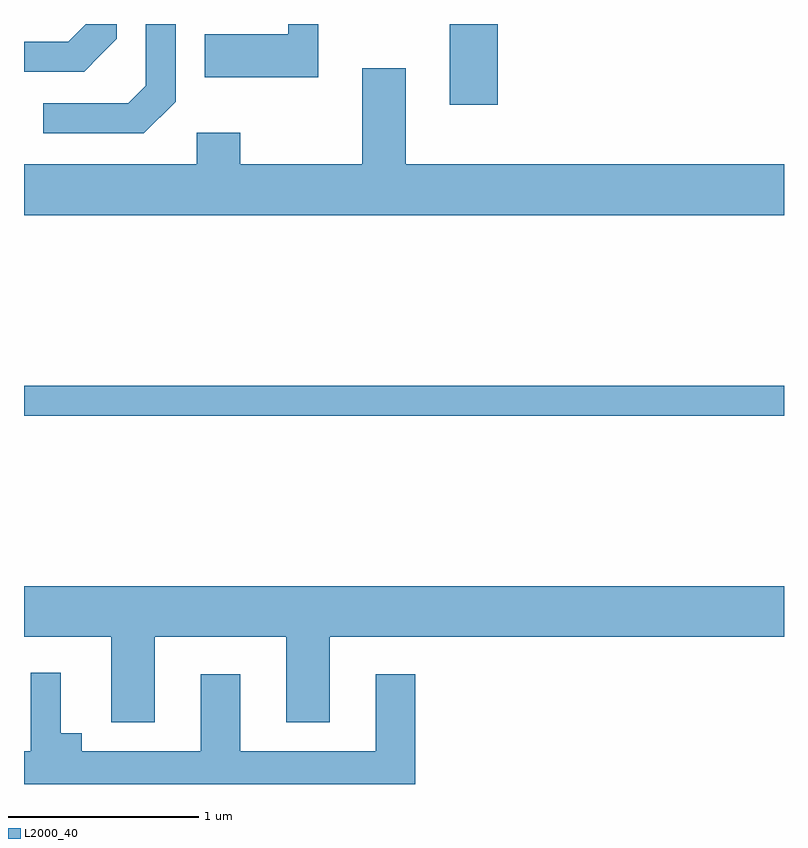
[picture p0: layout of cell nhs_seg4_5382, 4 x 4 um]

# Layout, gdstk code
import gdstk
lib = gdstk.Library(unit=1e-6, precision=1e-09)
def R(c, l, rs):  # rectangles x0, y0, x1, y1
    for r in rs: c.add(gdstk.rectangle(r[:2], r[2:], *l))
def P(c, l, *ps):  # polygons
    for p in ps: c.add(gdstk.Polygon(p, *l))
L2000_40 = (2000, 40)

nhs_seg4_5382 = lib.new_cell('nhs_seg4_5382')
R(nhs_seg4_5382, L2000_40, [(343.611,1275.921,347.611,1276.079), (345.851,1277.556,346.104,1277.982)])
P(nhs_seg4_5382, L2000_40, [(344.409,1277.574),(344.409,1277.982),(344.251,1277.982),(344.251,1277.657),(344.159,1277.564),(343.713,1277.564),(343.713,1277.406),(344.242,1277.406)],
  [(344.013,1277.817),(344.099,1277.904),(344.099,1277.982),(343.936,1277.982),(343.844,1277.889),(343.611,1277.889),(343.611,1277.731),(343.927,1277.731)],
  [(345.159,1277.982),(345.001,1277.982),(345.001,1277.929),(344.561,1277.929),(344.561,1277.701),(345.159,1277.701)],
  [(347.611,1277.244),(345.619,1277.244),(345.619,1277.749),(345.391,1277.749),(345.391,1277.244),(344.749,1277.244),(344.749,1277.409),(344.521,1277.409),(344.521,1277.244),(343.611,1277.244),(343.611,1276.976),(347.611,1276.976)],
  [(344.299,1274.756),(344.991,1274.756),(344.991,1274.306),(345.219,1274.306),(345.219,1274.756),(347.611,1274.756),(347.611,1275.024),(343.611,1275.024),(343.611,1274.756),(344.071,1274.756),(344.071,1274.306),(344.299,1274.306)],
  [(345.669,1274.559),(345.461,1274.559),(345.461,1274.154),(344.749,1274.154),(344.749,1274.559),(344.541,1274.559),(344.541,1274.154),(343.914,1274.154),(343.914,1274.249),(343.804,1274.249),(343.804,1274.568),(343.646,1274.568),(343.646,1274.154),(343.611,1274.154),(343.611,1273.982),(345.669,1273.982)])

lib.write_gds('nhs_seg4_5382.gds')
